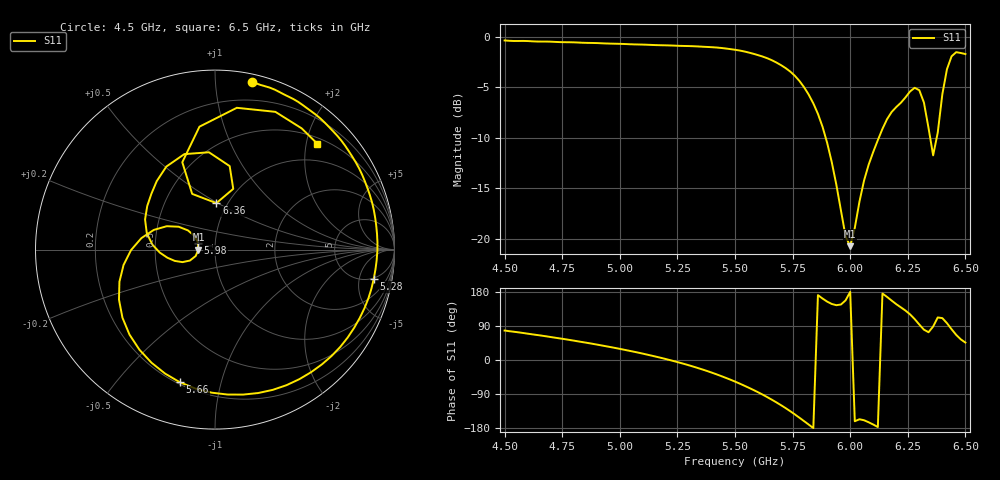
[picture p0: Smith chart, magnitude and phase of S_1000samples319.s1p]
! TOUCHSTONE file generated by CST MICROWAVE STUDIO
! Date and time: Thu Oct 27 18:25:26 2022
! Project name: L.cst
! Parameters = {Di=1.27; Epsilon_r=1.56; InnerDiameter=1.27; Length=2; Lf=10; Lg=60; OuterConductorThickness=0.2921; OuterDiameter=3.6; Wf=3; Wp=41.2; de=1.5; df=6.8; g=0.8; gx=4.59911; gy=0.593434; h=2.34; hf=1.524; px=8.58019; py=11.6913; w=9.7; wx=3.98108; wy=11.0979}
! Header version: 2018
! Port assignment regex: !\s*Touchstone port\s*([0-9]+)\s*=\s*(CST MWS port|CST DS port)\s*([0-9]+|Zmin|Zmax)\s*\(\"(.*)\"\)(\s*mode\s*([0-9]+))?.*
! Touchstone port assignment:
! Touchstone port 1 = CST MWS port 1 ("")
# GHz S DB R 50
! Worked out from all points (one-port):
!   101 points, 4.5 GHz to 6.5 GHz, reference 50 ohm
!   lowest |S11| = -20.7 dB at 6 GHz (marker M1), VSWR 1.20, Z = 41.6 + j0.0342 ohm
!   |S11| at or under -10 dB: 5.894 GHz to 6.124 GHz (230.5 MHz wide, 3.84 % of centre); 6.347154 GHz to 6.375433 GHz (28.28 MHz wide, 0.445 % of centre)
!   S11 on the Smith chart (normalised r, x): 4.5 GHz: 0.05, +1.24; 5.28 GHz: 4.77, -8.16; 5.66 GHz: 0.21, -0.75; 5.98 GHz: 0.82, +0.07; 6.36 GHz: 0.89, +0.49; 6.5 GHz: 0.61, +2.21
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4.5  -0.38 77.7
4.76  -0.55 55.1
5  -0.71 29.4
5.26  -0.91 -7.1
5.28  -0.92 -10.5
5.4  -1.04 -33.5
5.5  -1.30 -56.9
5.58  -1.69 -79.1
5.66  -2.33 -104.8
5.76  -3.87 -143.7
5.82  -5.74 -170.5
5.88  -8.92 162.2
5.98  -19.75 157.4
6  -20.72 179.7
6.06  -14.24 -158.9
6.12  -10.23 -176.9
6.18  -7.45 156.7
6.26  -5.41 120.4
6.3  -5.30 93.6
6.32  -6.52 80.0
6.34  -9.03 73.3
6.36  -11.74 88.3
6.38  -9.49 112.3
6.4  -5.69 110.5
6.42  -3.22 97.2
6.44  -1.95 81.2
6.46  -1.53 66.3
6.5  -1.72 46.0
